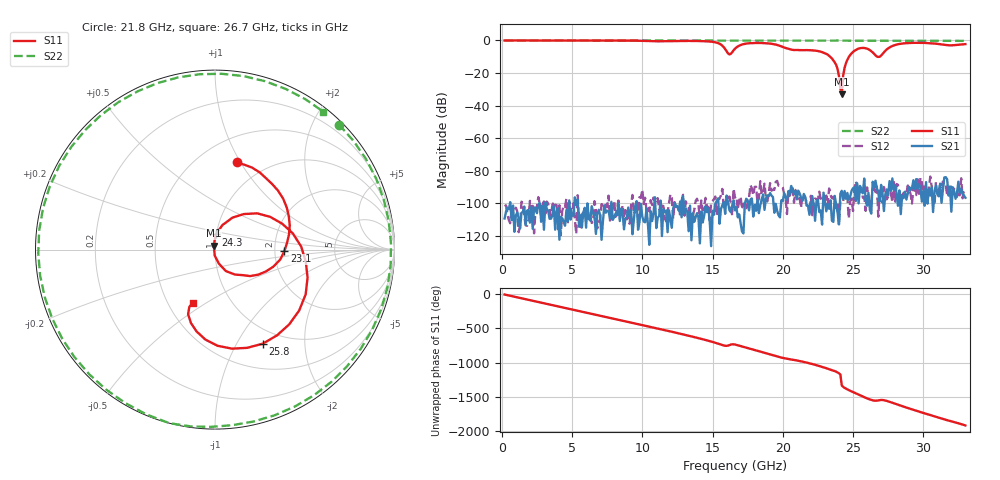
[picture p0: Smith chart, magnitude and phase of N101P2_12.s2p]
# GHZ S RI R 50
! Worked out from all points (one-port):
!   329 points, 200 MHz to 33 GHz, reference 50 ohm
!   lowest |S11| = -33.1 dB at 24.2 GHz (marker M1), VSWR 1.05, Z = 49.3 + j2.08 ohm
!   |S11| at or under -10 dB: 23.37 GHz to 24.71 GHz (1.343 GHz wide, 5.58 % of centre); 26.75716 GHz to 26.88673 GHz (129.6 MHz wide, 0.483 % of centre)
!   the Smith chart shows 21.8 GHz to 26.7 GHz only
!   S11 on the Smith chart (normalised r, x): 21.8 GHz: 0.74, +0.97; 23.1 GHz: 2.26, -0.05; 24.3 GHz: 0.99, +0.17; 25.8 GHz: 0.81, -1.29; 26.7 GHz: 0.66, -0.44
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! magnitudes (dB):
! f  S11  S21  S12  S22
! 200 MHz  0.0  -109.3  -101.7  0.0
! 5.7 GHz  0.0  -114.9  -104.8  -0.1
! 11.2 GHz  -0.5  -107.9  -103.5  -0.1
! 15.1 GHz  -1.0  -107.0  -97.5  -0.1
! 16.2 GHz  -8.6  -104.2  -95.8  -0.2
! 16.6 GHz  -5.1  -104.3  -96.5  -0.2
! 18.4 GHz  -1.5  -101.2  -86.4  -0.2
! 21.8 GHz  -6.0  -101.5  -99.0  -0.2
! 22.1 GHz  -6.1  -95.5  -107.3  -0.2
! 23.1 GHz  -8.3  -104.9  -95.2  -0.2
! 23.8 GHz  -15.0  -100.7  -102.0  -0.1
! 24 GHz  -21.7  -113.0  -113.5  0.0
! 24.1 GHz  -29.4  -94.0  -98.9  -0.1
! 24.2 GHz  -33.1  -92.3  -98.0  -0.1
! 24.3 GHz  -21.5  -97.5  -98.8  -0.1
! 24.5 GHz  -13.9  -97.2  -95.0  -0.1
! 24.8 GHz  -8.9  -95.9  -98.8  -0.1
! 25.8 GHz  -4.6  -84.8  -96.1  -0.2
! 26.7 GHz  -9.8  -90.9  -89.8  -0.2
! 27.6 GHz  -4.3  -86.4  -93.9  -0.2
! 29.1 GHz  -1.5  -91.9  -94.3  -0.2
! 33 GHz  -2.2  -96.6  -91.5  -0.2
